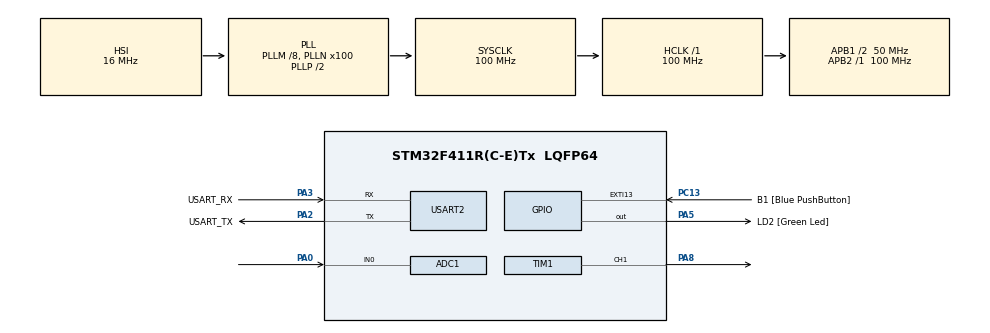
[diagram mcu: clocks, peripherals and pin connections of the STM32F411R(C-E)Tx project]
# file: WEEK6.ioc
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ADC1.Channel-0\#ChannelRegularConversion=ADC_CHANNEL_0
ADC1.ExternalTrigConv=ADC_EXTERNALTRIGCONV_T3_TRGO
ADC1.NbrOfConversionFlag=1
ADC1.Rank-0\#ChannelRegularConversion=1
ADC1.SamplingTime-0\#ChannelRegularConversion=ADC_SAMPLETIME_3CYCLES
ADC1.master=1
Mcu.Family=STM32F4
Mcu.Name=STM32F411R(C-E)Tx
Mcu.Package=LQFP64
NVIC.ADC_IRQn=true\:0\:0\:false\:false\:true\:true\:true
NVIC.PriorityGroup=NVIC_PRIORITYGROUP_0
NVIC.TIM1_TRG_COM_TIM11_IRQn=true\:0\:0\:false\:false\:true\:true\:true
PA0-WKUP.Signal=ADCx_IN0
PA13.GPIO_Label=TMS
PA13.Mode=Serial_Wire
PA13.Signal=SYS_JTMS-SWDIO
PA14.GPIO_Label=TCK
PA14.Mode=Serial_Wire
PA14.Signal=SYS_JTCK-SWCLK
PA2.GPIO_Label=USART_TX
PA2.Mode=Asynchronous
PA2.Signal=USART2_TX
PA3.GPIO_Label=USART_RX
PA3.Mode=Asynchronous
PA3.Signal=USART2_RX
PA5.GPIO_Label=LD2 [Green Led]
PA5.Signal=GPIO_Output
PA8.Signal=S_TIM1_CH1
PB3.GPIO_Label=SWO
PB3.Signal=SYS_JTDO-SWO
PC13-ANTI_TAMP.GPIO_Label=B1 [Blue PushButton]
PC13-ANTI_TAMP.GPIO_ModeDefaultEXTI=GPIO_MODE_IT_FALLING
PC13-ANTI_TAMP.Signal=GPXTI13
PC14-OSC32_IN.Mode=LSE-External-Oscillator
PC14-OSC32_IN.Signal=RCC_OSC32_IN
PC15-OSC32_OUT.Mode=LSE-External-Oscillator
PC15-OSC32_OUT.Signal=RCC_OSC32_OUT
PH0\ -\ OSC_IN.Mode=HSE-External-Clock-Source
PH0\ -\ OSC_IN.Signal=RCC_OSC_IN
PH1\ -\ OSC_OUT.Mode=HSE-External-Clock-Source
PH1\ -\ OSC_OUT.Signal=RCC_OSC_OUT
ProjectManager.HeapSize=0x200
ProjectManager.StackSize=0x400
ProjectManager.TargetToolchain=STM32CubeIDE
RCC.48MHZClocksFreq_Value=50000000
RCC.AHBFreq_Value=100000000
RCC.APB1CLKDivider=RCC_HCLK_DIV2
RCC.APB1Freq_Value=50000000
RCC.APB1TimFreq_Value=100000000
RCC.APB2Freq_Value=100000000
RCC.APB2TimFreq_Value=100000000
RCC.CortexFreq_Value=100000000
RCC.FLatency-AdvancedSettings=FLASH_LATENCY_3
RCC.HCLKFreq_Value=100000000
RCC.HSE_VALUE=8000000
RCC.HSI_VALUE=16000000
RCC.PLLM=8
RCC.PLLN=100
RCC.SYSCLKFreq_VALUE=100000000
RCC.SYSCLKSource=RCC_SYSCLKSOURCE_PLLCLK
RCC.VCOOutputFreq_Value=200000000
SH.ADCx_IN0.0=ADC1_IN0,IN0
SH.S_TIM1_CH1.0=TIM1_CH1,PWM Generation1 CH1
TIM1.Channel-PWM\ Generation1\ CH1=TIM_CHANNEL_1
TIM1.Period=10000
TIM1.Pulse-PWM\ Generation1\ CH1=5000
TIM11.Prescaler=99
TIM3.Period=1000
TIM3.Prescaler=99
TIM3.TIM_MasterOutputTrigger=TIM_TRGO_UPDATE
USART2.VirtualMode=VM_ASYNC
VP_TIM11_VS_ClockSourceINT.Mode=Enable_Timer
VP_TIM1_VS_ClockSourceINT.Mode=Internal
VP_TIM3_VS_ClockSourceINT.Mode=Internal
board=NUCLEO-F411RE

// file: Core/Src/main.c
/* USER CODE BEGIN Header */
/**
 ******************************************************************************
 * @file           : main.c
 * @brief          : Main program body
 ******************************************************************************
 * @attention
 *
 * <h2><center>&copy; Copyright (c) 2021 STMicroelectronics.
 * All rights reserved.</center></h2>
 *
 * This software component is licensed by ST under BSD 3-Clause license,
 * the "License"; You may not use this file except in compliance with the
 * License. You may obtain a copy of the License at:
 *                        opensource.org/licenses/BSD-3-Clause
 *
 ******************************************************************************
 */
/* USER CODE END Header */
#include "main.h"

ADC_HandleTypeDef hadc1;

TIM_HandleTypeDef htim1;
TIM_HandleTypeDef htim3;
TIM_HandleTypeDef htim11;

UART_HandleTypeDef huart2;

/* USER CODE BEGIN PV */

uint8_t ADCUpdateFlag = 0;
uint16_t ADCFeedBack = 0;

uint16_t PWMOut = 3000;
float volt =0;
uint64_t _micro = 0;
uint64_t TimeOutputLoop = 0;
/* USER CODE END PV */

void SystemClock_Config(void);
static void MX_GPIO_Init(void);
static void MX_USART2_UART_Init(void);
static void MX_ADC1_Init(void);
static void MX_TIM1_Init(void);
static void MX_TIM3_Init(void);
static void MX_TIM11_Init(void);
/* USER CODE BEGIN PFP */
uint64_t micros();
/* USER CODE END PFP */

int main(void)
{

  /* MCU Configuration--------------------------------------------------------*/

  /* Reset of all peripherals, Initializes the Flash interface and the Systick. */
   HAL_Init();

  /* Configure the system clock */
  SystemClock_Config();

  /* Initialize all configured peripherals */
  MX_GPIO_Init();
  MX_USART2_UART_Init();
  MX_ADC1_Init();
  MX_TIM1_Init();
  MX_TIM3_Init();
  MX_TIM11_Init();
  /* USER CODE BEGIN 2 */
	HAL_ADC_Start_IT(&hadc1);
	HAL_TIM_Base_Start(&htim3);

	HAL_TIM_Base_Start(&htim1);
	HAL_TIM_PWM_Start(&htim1, TIM_CHANNEL_1);

	HAL_TIM_Base_Start_IT(&htim11);

  /* USER CODE END 2 */

  /* Infinite loop */
	while (1) {

    /* USER CODE BEGIN 3 */

		//1 Khz Loop
		if (micros() - TimeOutputLoop >= 1000) {
			TimeOutputLoop = micros();
			// #001

			 //float Kp=1,Ki=0.13;
				// static int Bias,PWMOut,Last_bias;
				// Bias=10000-PWMOut;
				// ADCFeedBack+=Kp*(Bias-Last_bias)+Ki*Bias;
				// Last_bias=Bias;
			float Position_KP=10,Position_KI=0.2,Position_KD=1;
				 static float Bias,PWMOut,Integral_bias,Last_Bias;
				 Bias=1240-ADCFeedBack;                                 //Calculate the deviation
				 Integral_bias+=Bias;	                                 //Find the integral of the deviation
				 PWMOut=Position_KP*Bias+Position_KI*Integral_bias+Position_KD*(Bias-Last_Bias);       //Position PID controller
				 Last_Bias=Bias;

			__HAL_TIM_SET_COMPARE(&htim1, TIM_CHANNEL_1, PWMOut);
			volt = (ADCFeedBack*3.3)/4095;
		}

		if (ADCUpdateFlag) {
			ADCUpdateFlag = 0;
			//#002
		}

	}
  /* USER CODE END 3 */
}

void SystemClock_Config(void)
{
  RCC_OscInitTypeDef RCC_OscInitStruct = {0};
  RCC_ClkInitTypeDef RCC_ClkInitStruct = {0};

  /** Configure the main internal regulator output voltage
  */
  __HAL_RCC_PWR_CLK_ENABLE();
  __HAL_PWR_VOLTAGESCALING_CONFIG(PWR_REGULATOR_VOLTAGE_SCALE1);
  /** Initializes the RCC Oscillators according to the specified parameters
  * in the RCC_OscInitTypeDef structure.
  */
  RCC_OscInitStruct.OscillatorType = RCC_OSCILLATORTYPE_HSI;
  RCC_OscInitStruct.HSIState = RCC_HSI_ON;
  RCC_OscInitStruct.HSICalibrationValue = RCC_HSICALIBRATION_DEFAULT;
  RCC_OscInitStruct.PLL.PLLState = RCC_PLL_ON;
  RCC_OscInitStruct.PLL.PLLSource = RCC_PLLSOURCE_HSI;
  RCC_OscInitStruct.PLL.PLLM = 8;
  RCC_OscInitStruct.PLL.PLLN = 100;
  RCC_OscInitStruct.PLL.PLLP = RCC_PLLP_DIV2;
  RCC_OscInitStruct.PLL.PLLQ = 4;
  if (HAL_RCC_OscConfig(&RCC_OscInitStruct) != HAL_OK)
  {
    Error_Handler();
  }
  /** Initializes the CPU, AHB and APB buses clocks
  */
  RCC_ClkInitStruct.ClockType = RCC_CLOCKTYPE_HCLK|RCC_CLOCKTYPE_SYSCLK
                              |RCC_CLOCKTYPE_PCLK1|RCC_CLOCKTYPE_PCLK2;
  RCC_ClkInitStruct.SYSCLKSource = RCC_SYSCLKSOURCE_PLLCLK;
  RCC_ClkInitStruct.AHBCLKDivider = RCC_SYSCLK_DIV1;
  RCC_ClkInitStruct.APB1CLKDivider = RCC_HCLK_DIV2;
  RCC_ClkInitStruct.APB2CLKDivider = RCC_HCLK_DIV1;

  if (HAL_RCC_ClockConfig(&RCC_ClkInitStruct, FLASH_LATENCY_3) != HAL_OK)
  {
    Error_Handler();
  }
}

static void MX_ADC1_Init(void)
{

  ADC_ChannelConfTypeDef sConfig = {0};

  /** Configure the global features of the ADC (Clock, Resolution, Data Alignment and number of conversion)
  */
  hadc1.Instance = ADC1;
  hadc1.Init.ClockPrescaler = ADC_CLOCK_SYNC_PCLK_DIV4;
  hadc1.Init.Resolution = ADC_RESOLUTION_12B;
  hadc1.Init.ScanConvMode = DISABLE;
  hadc1.Init.ContinuousConvMode = DISABLE;
  hadc1.Init.DiscontinuousConvMode = DISABLE;
  hadc1.Init.ExternalTrigConvEdge = ADC_EXTERNALTRIGCONVEDGE_RISING;
  hadc1.Init.ExternalTrigConv = ADC_EXTERNALTRIGCONV_T3_TRGO;
  hadc1.Init.DataAlign = ADC_DATAALIGN_RIGHT;
  hadc1.Init.NbrOfConversion = 1;
  hadc1.Init.DMAContinuousRequests = DISABLE;
  hadc1.Init.EOCSelection = ADC_EOC_SINGLE_CONV;
  if (HAL_ADC_Init(&hadc1) != HAL_OK)
  {
    Error_Handler();
  }
  /** Configure for the selected ADC regular channel its corresponding rank in the sequencer and its sample time.
  */
  sConfig.Channel = ADC_CHANNEL_0;
  sConfig.Rank = 1;
  sConfig.SamplingTime = ADC_SAMPLETIME_3CYCLES;
  if (HAL_ADC_ConfigChannel(&hadc1, &sConfig) != HAL_OK)
  {
    Error_Handler();
  }

}

static void MX_TIM1_Init(void)
{

  TIM_ClockConfigTypeDef sClockSourceConfig = {0};
  TIM_MasterConfigTypeDef sMasterConfig = {0};
  TIM_OC_InitTypeDef sConfigOC = {0};
  TIM_BreakDeadTimeConfigTypeDef sBreakDeadTimeConfig = {0};

  htim1.Instance = TIM1;
  htim1.Init.Prescaler = 0;
  htim1.Init.CounterMode = TIM_COUNTERMODE_UP;
  htim1.Init.Period = 10000;
  htim1.Init.ClockDivision = TIM_CLOCKDIVISION_DIV1;
  htim1.Init.RepetitionCounter = 0;
  htim1.Init.AutoReloadPreload = TIM_AUTORELOAD_PRELOAD_DISABLE;
  if (HAL_TIM_Base_Init(&htim1) != HAL_OK)
  {
    Error_Handler();
  }
  sClockSourceConfig.ClockSource = TIM_CLOCKSOURCE_INTERNAL;
  if (HAL_TIM_ConfigClockSource(&htim1, &sClockSourceConfig) != HAL_OK)
  {
    Error_Handler();
  }
  if (HAL_TIM_PWM_Init(&htim1) != HAL_OK)
  {
    Error_Handler();
  }
  sMasterConfig.MasterOutputTrigger = TIM_TRGO_RESET;
  sMasterConfig.MasterSlaveMode = TIM_MASTERSLAVEMODE_DISABLE;
  if (HAL_TIMEx_MasterConfigSynchronization(&htim1, &sMasterConfig) != HAL_OK)
  {
    Error_Handler();
  }
  sConfigOC.OCMode = TIM_OCMODE_PWM1;
  sConfigOC.Pulse = 5000;
  sConfigOC.OCPolarity = TIM_OCPOLARITY_HIGH;
  sConfigOC.OCNPolarity = TIM_OCNPOLARITY_HIGH;
  sConfigOC.OCFastMode = TIM_OCFAST_DISABLE;
  sConfigOC.OCIdleState = TIM_OCIDLESTATE_RESET;
  sConfigOC.OCNIdleState = TIM_OCNIDLESTATE_RESET;
  if (HAL_TIM_PWM_ConfigChannel(&htim1, &sConfigOC, TIM_CHANNEL_1) != HAL_OK)
  {
    Error_Handler();
  }
  sBreakDeadTimeConfig.OffStateRunMode = TIM_OSSR_DISABLE;
  sBreakDeadTimeConfig.OffStateIDLEMode = TIM_OSSI_DISABLE;
  sBreakDeadTimeConfig.LockLevel = TIM_LOCKLEVEL_OFF;
  sBreakDeadTimeConfig.DeadTime = 0;
  sBreakDeadTimeConfig.BreakState = TIM_BREAK_DISABLE;
  sBreakDeadTimeConfig.BreakPolarity = TIM_BREAKPOLARITY_HIGH;
  sBreakDeadTimeConfig.AutomaticOutput = TIM_AUTOMATICOUTPUT_DISABLE;
  if (HAL_TIMEx_ConfigBreakDeadTime(&htim1, &sBreakDeadTimeConfig) != HAL_OK)
  {
    Error_Handler();
  }
  HAL_TIM_MspPostInit(&htim1);

}

static void MX_TIM3_Init(void)
{

  TIM_ClockConfigTypeDef sClockSourceConfig = {0};
  TIM_MasterConfigTypeDef sMasterConfig = {0};

  htim3.Instance = TIM3;
  htim3.Init.Prescaler = 99;
  htim3.Init.CounterMode = TIM_COUNTERMODE_UP;
  htim3.Init.Period = 1000;
  htim3.Init.ClockDivision = TIM_CLOCKDIVISION_DIV1;
  htim3.Init.AutoReloadPreload = TIM_AUTORELOAD_PRELOAD_DISABLE;
  if (HAL_TIM_Base_Init(&htim3) != HAL_OK)
  {
    Error_Handler();
  }
  sClockSourceConfig.ClockSource = TIM_CLOCKSOURCE_INTERNAL;
  if (HAL_TIM_ConfigClockSource(&htim3, &sClockSourceConfig) != HAL_OK)
  {
    Error_Handler();
  }
  sMasterConfig.MasterOutputTrigger = TIM_TRGO_UPDATE;
  sMasterConfig.MasterSlaveMode = TIM_MASTERSLAVEMODE_DISABLE;
  if (HAL_TIMEx_MasterConfigSynchronization(&htim3, &sMasterConfig) != HAL_OK)
  {
    Error_Handler();
  }

}

static void MX_TIM11_Init(void)
{

  htim11.Instance = TIM11;
  htim11.Init.Prescaler = 99;
  htim11.Init.CounterMode = TIM_COUNTERMODE_UP;
  htim11.Init.Period = 65535;
  htim11.Init.ClockDivision = TIM_CLOCKDIVISION_DIV1;
  htim11.Init.AutoReloadPreload = TIM_AUTORELOAD_PRELOAD_DISABLE;
  if (HAL_TIM_Base_Init(&htim11) != HAL_OK)
  {
    Error_Handler();
  }

}

static void MX_USART2_UART_Init(void)
{

  huart2.Instance = USART2;
  huart2.Init.BaudRate = 115200;
  huart2.Init.WordLength = UART_WORDLENGTH_8B;
  huart2.Init.StopBits = UART_STOPBITS_1;
  huart2.Init.Parity = UART_PARITY_NONE;
  huart2.Init.Mode = UART_MODE_TX_RX;
  huart2.Init.HwFlowCtl = UART_HWCONTROL_NONE;
  huart2.Init.OverSampling = UART_OVERSAMPLING_16;
  if (HAL_UART_Init(&huart2) != HAL_OK)
  {
    Error_Handler();
  }

}

static void MX_GPIO_Init(void)
{
  GPIO_InitTypeDef GPIO_InitStruct = {0};

  /* GPIO Ports Clock Enable */
  __HAL_RCC_GPIOC_CLK_ENABLE();
  __HAL_RCC_GPIOH_CLK_ENABLE();
  __HAL_RCC_GPIOA_CLK_ENABLE();
  __HAL_RCC_GPIOB_CLK_ENABLE();

  /*Configure GPIO pin Output Level */
  HAL_GPIO_WritePin(LD2_GPIO_Port, LD2_Pin, GPIO_PIN_RESET);

  /*Configure GPIO pin : B1_Pin */
  GPIO_InitStruct.Pin = B1_Pin;
  GPIO_InitStruct.Mode = GPIO_MODE_IT_FALLING;
  GPIO_InitStruct.Pull = GPIO_NOPULL;
  HAL_GPIO_Init(B1_GPIO_Port, &GPIO_InitStruct);

  /*Configure GPIO pin : LD2_Pin */
  GPIO_InitStruct.Pin = LD2_Pin;
  GPIO_InitStruct.Mode = GPIO_MODE_OUTPUT_PP;
  GPIO_InitStruct.Pull = GPIO_NOPULL;
  GPIO_InitStruct.Speed = GPIO_SPEED_FREQ_LOW;
  HAL_GPIO_Init(LD2_GPIO_Port, &GPIO_InitStruct);

}

/* USER CODE BEGIN 4 */

void HAL_ADC_ConvCpltCallback(ADC_HandleTypeDef *hadc) {
	ADCFeedBack = HAL_ADC_GetValue(&hadc1);
	ADCUpdateFlag = 1;
}
void HAL_TIM_PeriodElapsedCallback(TIM_HandleTypeDef *htim) {
	if (htim == &htim11) {
		_micro += 65535;
	}
}

__inline__ uint64_t micros() {
	return _micro + htim11.Instance->CNT;
}
/* USER CODE END 4 */

void Error_Handler(void)
{
	__disable_irq();
	while (1) {
	}
}

/************************ (C) COPYRIGHT STMicroelectronics *****END OF FILE****/
